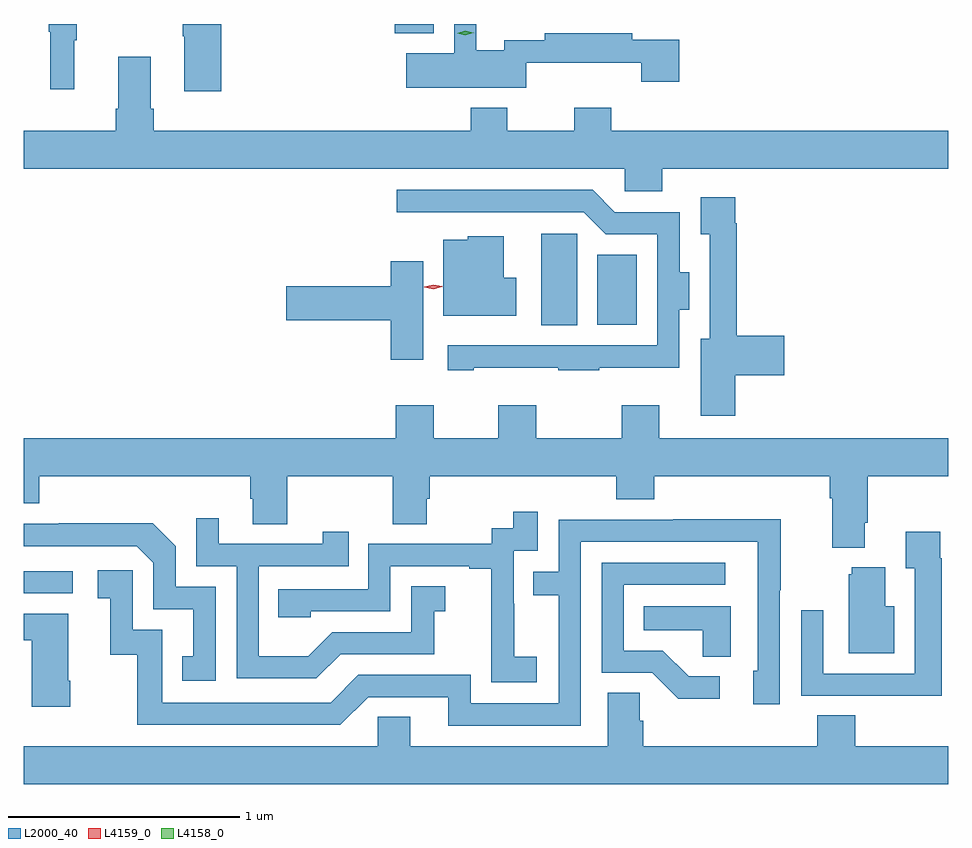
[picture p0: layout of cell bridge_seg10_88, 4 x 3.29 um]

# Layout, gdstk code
import gdstk
lib = gdstk.Library(unit=1e-6, precision=1e-09)
def R(c, l, rs):  # rectangles x0, y0, x1, y1
    for r in rs: c.add(gdstk.rectangle(r[:2], r[2:], *l))
def P(c, l, *ps):  # polygons
    for p in ps: c.add(gdstk.Polygon(p, *l))
L2000_40 = (2000, 40)
L4158_0 = (4158, 0)
L4159_0 = (4159, 0)

bridge_seg10_88 = lib.new_cell('bridge_seg10_88')
R(bridge_seg10_88, L2000_40, [(647.938,1283.826,648.148,1283.922), (650.177,1284.985,650.332,1285.381), (650.42,1284.989,650.59,1285.291), (649.544,1286.249,649.711,1286.29)])
P(bridge_seg10_88, L2000_40, [(648.155,1286.219),(648.166,1286.219),(648.166,1286.29),(648.045,1286.29),(648.045,1286.256),(648.052,1286.256),(648.052,1286.007),(648.155,1286.007)],
  [(648.791,1286.29),(648.625,1286.29),(648.625,1286.236),(648.632,1286.236),(648.632,1285.998),(648.791,1285.998)],
  [(650.112,1286.123),(650.609,1286.123),(650.609,1286.04),(650.774,1286.04),(650.774,1286.222),(650.572,1286.222),(650.572,1286.251),(650.192,1286.251),(650.192,1286.22),(650.016,1286.22),(650.016,1286.176),(649.896,1286.176),(649.896,1286.29),(649.8,1286.29),(649.8,1286.164),(649.593,1286.164),(649.593,1286.015),(650.112,1286.015)],
  [(650.48,1285.927),(650.32,1285.927),(650.32,1285.828),(650.031,1285.828),(650.031,1285.927),(649.871,1285.927),(649.871,1285.828),(648.5,1285.828),(648.5,1285.924),(648.487,1285.924),(648.487,1286.149),(648.347,1286.149),(648.347,1285.924),(648.335,1285.924),(648.335,1285.828),(647.938,1285.828),(647.938,1285.664),(650.538,1285.664),(650.538,1285.566),(650.702,1285.566),(650.702,1285.664),(651.938,1285.664),(651.938,1285.828),(650.48,1285.828)],
  [(649.885,1284.803),(650.251,1284.803),(650.251,1284.792),(650.429,1284.792),(650.429,1284.803),(650.775,1284.803),(650.775,1285.052),(650.818,1285.052),(650.818,1285.216),(650.776,1285.216),(650.776,1285.476),(650.496,1285.476),(650.4,1285.572),(649.551,1285.572),(649.551,1285.476),(650.361,1285.476),(650.457,1285.38),(650.679,1285.38),(650.679,1284.9),(649.773,1284.9),(649.773,1284.792),(649.885,1284.792)],
  [(651.017,1284.77),(651.229,1284.77),(651.229,1284.941),(651.023,1284.941),(651.023,1285.427),(651.016,1285.427),(651.016,1285.54),(650.867,1285.54),(650.867,1285.379),(650.907,1285.379),(650.907,1284.928),(650.867,1284.928),(650.867,1284.594),(651.017,1284.594)],
  [(650.068,1285.192),(650.014,1285.192),(650.014,1285.372),(649.86,1285.372),(649.86,1285.357),(649.754,1285.357),(649.754,1285.028),(650.068,1285.028)],
  [(649.666,1285.264),(649.526,1285.264),(649.526,1285.154),(649.074,1285.154),(649.074,1285.007),(649.526,1285.007),(649.526,1284.837),(649.666,1284.837)],
  [(651.577,1284.13),(651.59,1284.13),(651.59,1284.332),(651.938,1284.332),(651.938,1284.496),(650.689,1284.496),(650.689,1284.64),(650.525,1284.64),(650.525,1284.496),(650.155,1284.496),(650.155,1284.64),(649.991,1284.64),(649.991,1284.496),(649.711,1284.496),(649.711,1284.64),(649.547,1284.64),(649.547,1284.496),(647.938,1284.496),(647.938,1284.215),(648.005,1284.215),(648.005,1284.332),(648.917,1284.332),(648.917,1284.234),(648.929,1284.234),(648.929,1284.124),(649.077,1284.124),(649.077,1284.332),(649.534,1284.332),(649.534,1284.124),(649.681,1284.124),(649.681,1284.234),(649.694,1284.234),(649.694,1284.332),(650.501,1284.332),(650.501,1284.233),(650.666,1284.233),(650.666,1284.332),(651.425,1284.332),(651.425,1284.236),(651.437,1284.236),(651.437,1284.023),(651.577,1284.023)],
  [(650.158,1283.551),(650.06,1283.551),(650.06,1283.78),(650.058,1283.78),(650.058,1284.009),(650.163,1284.009),(650.163,1284.178),(650.055,1284.178),(650.055,1284.108),(649.962,1284.108),(649.962,1284.039),(649.428,1284.039),(649.428,1283.844),(649.039,1283.844),(649.039,1283.721),(649.179,1283.721),(649.179,1283.748),(649.524,1283.748),(649.524,1283.943),(649.865,1283.943),(649.865,1283.931),(649.961,1283.931),(649.961,1283.647),(649.96,1283.647),(649.96,1283.441),(650.158,1283.441)],
  [(649.309,1283.562),(649.713,1283.562),(649.713,1283.747),(649.762,1283.747),(649.762,1283.857),(649.614,1283.857),(649.614,1283.658),(649.272,1283.658),(649.168,1283.554),(648.954,1283.554),(648.954,1283.943),(649.343,1283.943),(649.343,1284.091),(649.232,1284.091),(649.232,1284.039),(648.781,1284.039),(648.781,1284.151),(648.684,1284.151),(648.684,1283.943),(648.858,1283.943),(648.858,1283.457),(649.204,1283.457)],
  [(650.349,1284.048),(651.114,1284.048),(651.114,1283.49),(651.095,1283.49),(651.095,1283.346),(651.21,1283.346),(651.21,1283.839),(651.213,1283.839),(651.213,1284.146),(650.749,1284.146),(650.749,1284.144),(650.253,1284.144),(650.253,1283.919),(650.143,1283.919),(650.143,1283.818),(650.253,1283.818),(650.253,1283.349),(649.872,1283.349),(649.872,1283.472),(649.386,1283.472),(649.266,1283.352),(648.537,1283.352),(648.537,1283.667),(648.408,1283.667),(648.408,1283.926),(648.258,1283.926),(648.258,1283.805),(648.311,1283.805),(648.311,1283.559),(648.429,1283.559),(648.429,1283.256),(649.308,1283.256),(649.428,1283.376),(649.775,1283.376),(649.775,1283.253),(650.349,1283.253)],
  [(648.768,1283.853),(648.594,1283.853),(648.594,1284.03),(648.496,1284.128),(648.088,1284.128),(648.088,1284.126),(647.938,1284.126),(647.938,1284.03),(648.426,1284.03),(648.498,1283.958),(648.498,1283.757),(648.671,1283.757),(648.671,1283.553),(648.622,1283.553),(648.622,1283.448),(648.768,1283.448)],
  [(651.911,1283.978),(651.904,1283.978),(651.904,1284.091),(651.755,1284.091),(651.755,1283.935),(651.795,1283.935),(651.795,1283.478),(651.399,1283.478),(651.399,1283.752),(651.303,1283.752),(651.303,1283.382),(651.619,1283.382),(651.619,1283.381),(651.911,1283.381)],
  [(650.95,1283.466),(650.815,1283.466),(650.704,1283.577),(650.535,1283.577),(650.535,1283.862),(650.974,1283.862),(650.974,1283.958),(650.439,1283.958),(650.439,1283.481),(650.658,1283.481),(650.771,1283.369),(650.95,1283.369)],
  [(651.706,1283.77),(651.667,1283.77),(651.667,1283.938),(651.521,1283.938),(651.521,1283.907),(651.509,1283.907),(651.509,1283.567),(651.706,1283.567)],
  [(650.998,1283.77),(650.62,1283.77),(650.62,1283.666),(650.877,1283.666),(650.877,1283.551),(650.998,1283.551)],
  [(648.138,1283.446),(648.13,1283.446),(648.13,1283.737),(647.938,1283.737),(647.938,1283.623),(647.972,1283.623),(647.972,1283.334),(648.138,1283.334)],
  [(651.938,1283.164),(651.536,1283.164),(651.536,1283.297),(651.371,1283.297),(651.371,1283.164),(650.618,1283.164),(650.618,1283.273),(650.604,1283.273),(650.604,1283.396),(650.465,1283.396),(650.465,1283.164),(649.609,1283.164),(649.609,1283.291),(649.47,1283.291),(649.47,1283.164),(647.938,1283.164),(647.938,1283),(651.938,1283)])
P(bridge_seg10_88, L4158_0, [(649.849,1286.241),(649.814,1286.25),(649.814,1286.25),(649.814,1286.25),(649.848,1286.261),(649.883,1286.253),(649.884,1286.253),(649.883,1286.252)])
P(bridge_seg10_88, L4159_0, [(649.71,1285.142),(649.671,1285.151),(649.671,1285.152),(649.671,1285.152),(649.709,1285.162),(649.748,1285.154),(649.748,1285.154),(649.748,1285.153)])

lib.write_gds('bridge_seg10_88.gds')
